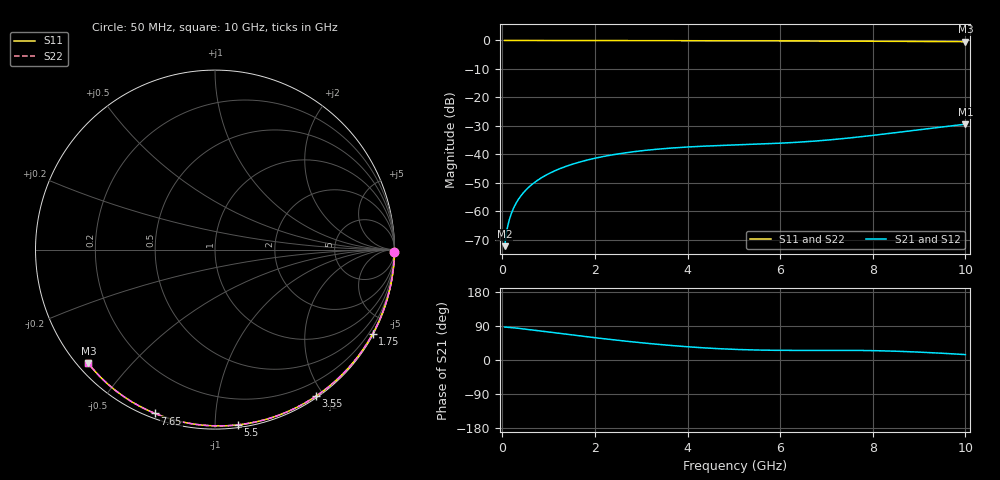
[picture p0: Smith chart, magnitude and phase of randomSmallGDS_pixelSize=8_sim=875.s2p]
! freq	dB(S11)	phase(S11)	dB(S12)	phase(S12)
!  dB(S21)	phase(S21)	dB(S22)	phase(S22)
!S-par simulation data
#  GHz  S  DB  R 50
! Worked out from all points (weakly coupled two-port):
!   200 points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, 50 MHz to 10 GHz, reference 50 ohm
!   highest |S21| = -29.38 dB at 10 GHz (marker M1); lowest = -72.2 dB at 50 MHz (marker M2)
!   lowest |S11| = -0.5 dB at 10 GHz (marker M3), VSWR 37.98, Z = 1.51 - j19.1 ohm
!   |S11| at or under -10 dB: nowhere
!   |S22| runs from -0.5 to 0.0 dB; largest |S21 - S12| = 0
!   S11 on the Smith chart (normalised r, x): 50 MHz: open; 1.75 GHz: 0.04, -4.01; 3.55 GHz: 0.02, -1.91; 5.5 GHz: 0.02, -1.14; 7.65 GHz: 0.02, -0.70; 10 GHz: 0.03, -0.38
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0.05  -0.00 -0.8  -72.18 87.0  -72.18 87.0  -0.00 -0.8
0.1  -0.00 -1.6  -66.38 86.4  -66.38 86.4  -0.00 -1.6
0.15  -0.00 -2.4  -62.96 86.0  -62.96 86.0  -0.00 -2.4
0.2  -0.00 -3.3  -60.50 85.5  -60.50 85.5  -0.00 -3.3
0.25  -0.00 -4.1  -58.59 84.9  -58.59 84.9  -0.00 -4.1
0.35  -0.00 -5.7  -55.70 83.6  -55.70 83.6  -0.00 -5.7
0.5  -0.01 -8.1  -52.64 81.4  -52.64 81.4  -0.01 -8.1
0.7  -0.01 -11.3  -49.77 78.4  -49.77 78.4  -0.01 -11.3
1  -0.02 -16.1  -46.77 73.8  -46.77 73.8  -0.02 -16.1
1.35  -0.03 -21.7  -44.32 68.4  -44.32 68.4  -0.03 -21.7
1.75  -0.04 -28.0  -42.31 62.5  -42.31 62.5  -0.04 -28.0
2.5  -0.05 -39.6  -39.81 51.9  -39.81 51.9  -0.05 -39.6
3.4  -0.07 -53.1  -38.08 40.9  -38.08 40.9  -0.07 -53.1
3.55  -0.07 -55.3  -37.87 39.3  -37.87 39.3  -0.07 -55.3
4.3  -0.09 -66.2  -37.13 32.5  -37.13 32.5  -0.09 -66.2
5.05  -0.12 -76.6  -36.65 27.9  -36.65 27.9  -0.12 -76.6
5.5  -0.13 -82.7  -36.38 26.3  -36.38 26.3  -0.13 -82.7
6.7  -0.19 -98.3  -35.36 25.4  -35.36 25.4  -0.19 -98.3
7.65  -0.25 -110.1  -33.95 25.3  -33.95 25.3  -0.25 -110.1
8.35  -0.30 -118.6  -32.63 23.7  -32.63 23.7  -0.30 -118.6
9.2  -0.37 -128.7  -30.94 19.7  -30.94 19.7  -0.37 -128.7
10  -0.46 -138.1  -29.38 14.3  -29.38 14.3  -0.46 -138.1
